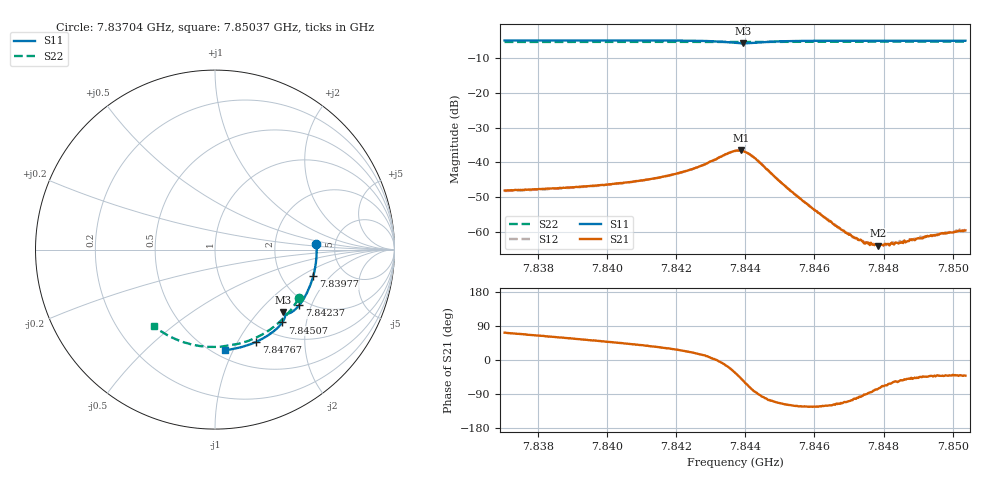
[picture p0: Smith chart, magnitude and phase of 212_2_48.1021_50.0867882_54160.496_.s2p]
#  HZ  S  RI  R  50.00
! Rohde & Schwarz Vector Network Analyzer
! Rohde-Schwarz,ZNB20-2Port,1311601062101988,3.16
! Created: UTC 12/23/2023, 3:55:51 AM
! freq[Hz]  re:S11  im:S11  re:S21  im:S21  re:S12  im:S12  re:S22  im:S22
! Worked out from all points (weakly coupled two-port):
!   401 points, 7.83704 GHz to 7.85037 GHz, reference 50 ohm
!   highest |S21| = -36.53 dB at 7.84387 GHz (marker M1); lowest = -63.9 dB at 7.84783 GHz (marker M2)
!   lowest |S11| = -5.7 dB at 7.84393 GHz (marker M3), VSWR 3.13, Z = 72.9 - j69 ohm
!   |S11| at or under -10 dB: nowhere
!   |S22| runs from -5.4 to -5.3 dB; largest |S21 - S12| = 0.00035
!   S11 on the Smith chart (normalised r, x): 7.83704 GHz: 3.57, +0.35; 7.83977 GHz: 3.00, -1.30; 7.84237 GHz: 1.81, -1.64; 7.84507 GHz: 1.25, -1.46; 7.84767 GHz: 0.80, -1.20; 7.85037 GHz: 0.57, -0.93
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7.837036e9  0.5652 0.0336  0.00121 0.00376  0.00124 0.00367  0.4659 -0.2722
7.839269e9  0.5552 -0.1145  0.00263 0.00365  0.00262 0.0036  0.3692 -0.3946
7.839769e9  0.5474 -0.1472  0.003 0.0036  0.00297 0.00359  0.3429 -0.4179
7.841502e9  0.5037 -0.257  0.00505 0.00336  0.005 0.00338  0.2413 -0.4844
7.842369e9  0.4696 -0.3092  0.00722 0.00284  0.00715 0.00287  0.1854 -0.5085
7.843202e9  0.4208 -0.3518  0.0115 -0.000357  0.0115 -0.000225  0.1292 -0.5249
7.843702e9  0.3854 -0.3545  0.0123 -0.00806  0.0122 -0.00796  0.0955 -0.5306
7.843868e9  0.3812 -0.349  0.00995 -0.0111  0.00977 -0.0111  0.0852 -0.5321
7.843935e9  0.3813 -0.3476  0.00855 -0.0118  0.00847 -0.0118  0.0809 -0.5328
7.844102e9  0.385 -0.3472  0.00457 -0.0125  0.00462 -0.0125  0.0704 -0.5348
7.844302e9  0.39 -0.3549  0.000992 -0.0113  0.00101 -0.0112  0.0574 -0.5373
7.845068e9  0.3747 -0.4059  -0.00213 -0.00449  -0.00211 -0.00452  0.00369 -0.5426
7.845935e9  0.3317 -0.4511  -0.00122 -0.00183  -0.00121 -0.00187  -0.0574 -0.5405
7.846601e9  0.2943 -0.4786  -0.000579 -0.00109  -0.000554 -0.00115  -0.1038 -0.5341
7.847168e9  0.2611 -0.4983  -0.000173 -0.000797  -0.000208 -0.000793  -0.1427 -0.5255
7.847468e9  0.243 -0.5076  -1.46e-05 -0.000682  6.66e-06 -0.000718  -0.1629 -0.5196
7.847667e9  0.2309 -0.5133  6.89e-05 -0.000656  9.28e-05 -0.000694  -0.1763 -0.5154
7.847834e9  0.2207 -0.5181  0.000149 -0.000621  0.00014 -0.000629  -0.1874 -0.5116
7.848167e9  0.1998 -0.5262  0.000297 -0.000568  0.000336 -0.000583  -0.2094 -0.5033
7.848501e9  0.179 -0.5338  0.000422 -0.000561  0.000403 -0.000569  -0.2306 -0.4939
7.8497e9  0.1015 -0.5535  0.000723 -0.000641  0.000721 -0.000627  -0.3042 -0.4532
7.850367e9  0.0575 -0.5595  0.00079 -0.000694  0.000814 -0.000712  -0.342 -0.426
